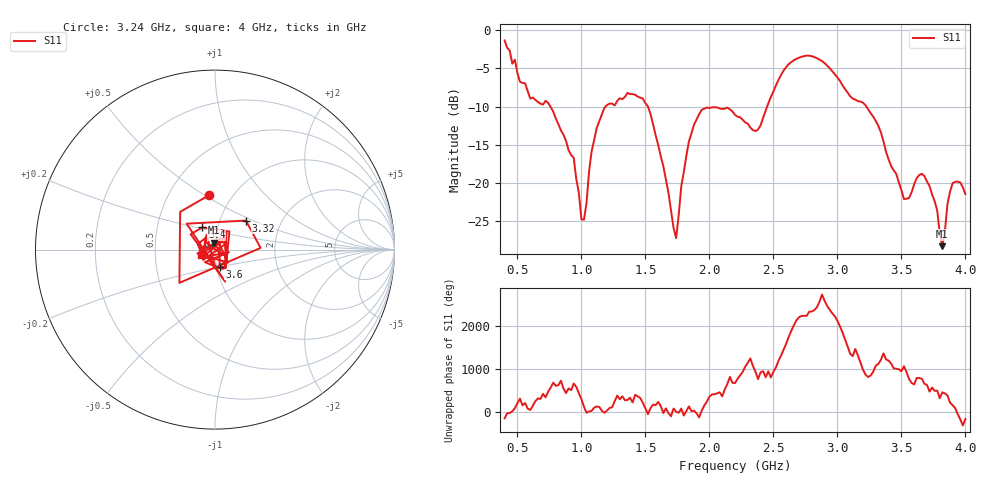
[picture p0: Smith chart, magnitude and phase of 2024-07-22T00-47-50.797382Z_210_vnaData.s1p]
!Created with skrf (http://scikit-rf.org).
# Hz S RI R 50.0
!freq ReS11 ImS11
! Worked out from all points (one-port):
!   181 points, 400 MHz to 4 GHz, reference 50 ohm
!   lowest |S11| = -28.3 dB at 3.82 GHz (marker M1), VSWR 1.08, Z = 49.2 + j3.73 ohm
!   |S11| at or under -10 dB: 758 MHz to 1.189 GHz (430.6 MHz wide, 44.2 % of centre); 1.52 GHz to 2.451 GHz (931 MHz wide, 46.9 % of centre); 3.227 GHz to end of sweep
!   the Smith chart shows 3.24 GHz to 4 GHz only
!   S11 on the Smith chart (normalised r, x): 3.24 GHz: 0.78, +0.52; 3.32 GHz: 1.33, +0.45; 3.4 GHz: 0.84, +0.21; 3.6 GHz: 1.03, -0.20; 4 GHz: 0.85, -0.05
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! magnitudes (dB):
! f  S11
! 400 MHz  -1.3
! 600 MHz  -8.9
! 740 MHz  -9.5
! 860 MHz  -13.7
! 940 MHz  -16.7
! 1 GHz  -24.8
! 1.02 GHz  -24.8
! 1.12 GHz  -12.8
! 1.3 GHz  -8.9
! 1.52 GHz  -10.0
! 1.74 GHz  -27.2
! 1.76 GHz  -24.2
! 1.84 GHz  -14.6
! 1.92 GHz  -11.0
! 2.2 GHz  -11.1
! 2.38 GHz  -13.0
! 2.66 GHz  -3.9
! 2.88 GHz  -4.0
! 3.1 GHz  -8.6
! 3.24 GHz  -10.4
! 3.32 GHz  -12.5
! 3.4 GHz  -16.9
! 3.56 GHz  -22.0
! 3.6 GHz  -20.2
! 3.72 GHz  -20.4
! 3.82 GHz  -28.3
! 3.9 GHz  -20.0
! 4 GHz  -21.5
